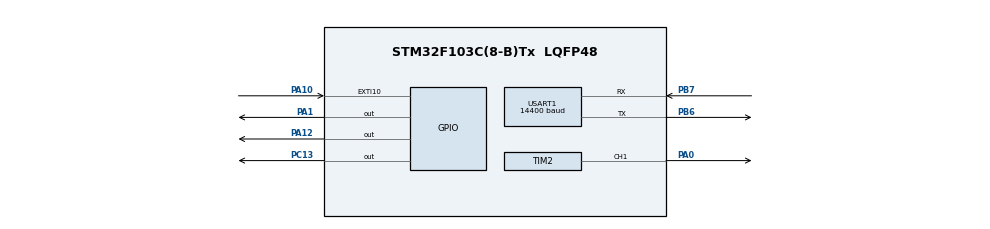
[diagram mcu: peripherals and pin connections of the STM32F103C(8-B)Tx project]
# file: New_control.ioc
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Mcu.Family=STM32F1
Mcu.Name=STM32F103C(8-B)Tx
Mcu.Package=LQFP48
NVIC.EXTI15_10_IRQn=true\:0\:0\:false\:false\:true\:true\:true\:true
NVIC.PriorityGroup=NVIC_PRIORITYGROUP_4
NVIC.TIM1_UP_IRQn=true\:0\:0\:false\:false\:true\:true\:true\:true
NVIC.TIM3_IRQn=true\:0\:0\:false\:false\:true\:true\:true\:true
NVIC.USART1_IRQn=true\:0\:0\:false\:false\:true\:true\:true\:true
PA0-WKUP.Signal=S_TIM2_CH1_ETR
PA1.Signal=GPIO_Output
PA10.Signal=GPXTI10
PA12.Signal=GPIO_Output
PA13.Mode=Serial_Wire
PA13.Signal=SYS_JTMS-SWDIO
PA14.Mode=Serial_Wire
PA14.Signal=SYS_JTCK-SWCLK
PB6.Mode=Asynchronous
PB6.Signal=USART1_TX
PB7.Mode=Asynchronous
PB7.Signal=USART1_RX
PC13-TAMPER-RTC.Signal=GPIO_Output
ProjectManager.HeapSize=0x200
ProjectManager.StackSize=0x400
ProjectManager.TargetToolchain=MDK-ARM V5.32
RCC.APB1Freq_Value=8000000
RCC.APB2Freq_Value=8000000
SH.S_TIM2_CH1_ETR.0=TIM2_CH1,PWM Generation1 CH1
TIM1.Period=999
TIM1.Prescaler=799
TIM2.Channel-PWM\ Generation1\ CH1=TIM_CHANNEL_1
TIM2.Period=999
TIM2.Prescaler=7
TIM3.Period=2499
TIM3.Prescaler=799
USART1.BaudRate=14400
USART1.VirtualMode=VM_ASYNC
VP_TIM1_VS_ClockSourceINT.Mode=Internal
VP_TIM3_VS_ClockSourceINT.Mode=Internal
board=custom

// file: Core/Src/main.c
/* USER CODE BEGIN Header */
/**
  ******************************************************************************
  * @file           : main.c
  * @brief          : Main program body
  ******************************************************************************
  * @attention
  *
  * Copyright (c) 2025 STMicroelectronics.
  * All rights reserved.
  *
  * This software is licensed under terms that can be found in the LICENSE file
  * in the root directory of this software component.
  * If no LICENSE file comes with this software, it is provided AS-IS.
  *
  ******************************************************************************
  */
/* USER CODE END Header */
#include "main.h"

/* USER CODE BEGIN Includes */
#include "Motor_control.h"
#include "math.h"
#include "string.h"
#include "stdlib.h"
#include "stdio.h"
/* USER CODE END Includes */

/* USER CODE BEGIN PD */
#define UART_BUFFER_SIZE 100

uint8_t uart_rx_data;                   // biến nhận từng byte UART
char uart_cmd_buffer[UART_BUFFER_SIZE]; // buffer lưu chuỗi nhận được
uint16_t uart_cmd_index = 0;            // chỉ số lưu vị trí hiện tại trong buffer
volatile uint8_t uart_data_ready = 0;   // cờ báo nhận xong 1 chuỗi dữ liệu
/* USER CODE END PD */

TIM_HandleTypeDef htim1;
TIM_HandleTypeDef htim2;
TIM_HandleTypeDef htim3;

UART_HandleTypeDef huart1;

/* USER CODE BEGIN PV */
float toc_do;
uint8_t uart_flag_tx;
volatile uint32_t pulse_count = 0;
//int8_t direction;
uint8_t flag_pulse;
uint8_t flag_timer_100ms;
uint8_t motor_on = 0;
uint8_t controller_type = 0;
uint8_t input_type = 0;
float amp_max = 0, amp_min = 0;
float scaled_speedmras_set;
float scaled_speedmras_speed;
float recovered_speedmras;
uint8_t flag_nguoc;
/* USER CODE END PV */

void SystemClock_Config(void);
static void MX_GPIO_Init(void);
static void MX_TIM1_Init(void);
static void MX_TIM2_Init(void);
static void MX_TIM3_Init(void);
static void MX_USART1_UART_Init(void);
/* USER CODE BEGIN PFP */

void HAL_GPIO_EXTI_Callback(uint16_t GPIO_Pin) //Ngat ngoai dem xung
{
    if (GPIO_Pin == GPIO_PIN_10) // PA10 = EXTI10
    {
        flag_pulse = 1; // Set co bao co xung
    }
}
void HAL_TIM_PeriodElapsedCallback(TIM_HandleTypeDef *htim) //Ngat 100ms tinh toc do
{
    if (htim->Instance == TIM1) //Ngat 100ms tinh toc do
    {
        flag_timer_100ms = 1;
			//HAL_GPIO_TogglePin(GPIOC,GPIO_PIN_13);
							// Danh dau da den chu ky 100ms
    }
		if (htim->Instance == TIM3)		//Ngat 0.2s truyen uart
		{
		uart_flag_tx=1;
		}
}
//Code truyen Uart
void send_uart_3float(UART_HandleTypeDef *huart, float var1, float var2, float var3)
{
    char uart_buffer[100];
    int len;

    // Dinh dang chuoi: "var1,var2,var3\r\n"
    len = sprintf(uart_buffer, "%.2f,%.2f,%.2f\r\n", var1, var2, var3);

    // Truyen qua UART
    HAL_UART_Transmit(huart, (uint8_t*)uart_buffer, len, HAL_MAX_DELAY);
}

void Parse_UART_Command(char* str) {
    char* token;
    uint8_t field = 0;

    token = strtok(str, ",");
    while (token != NULL) {
        switch (field) {
            case 0: motor_on = atoi(token); break;
            case 1: controller_type = atoi(token); break;
            case 2: input_type = atoi(token); break;
            case 3: kp = atof(token); break;
            case 4: ki = atof(token); break;
            case 5: gp = atof(token); break;
            case 6: gi = atof(token); break;
            case 7: amp_max = atof(token); break;
            case 8: amp_min = atof(token); break;
            case 9: set_point = atof(token); break;
            default: break;
        }
				if (set_point <0)
				{
					flag_nguoc =1;
				}
        token = strtok(NULL, ",");
        field++;
    }
}
//Ham ngat nhan Uart - ket thuc bang R --> truyen chuoi nhan dc cho ham xu ly
void HAL_UART_RxCpltCallback(UART_HandleTypeDef *huart)
{
    if (huart->Instance == USART1)  // Đảm bảo là đúng UART bạn đang dùng
    {
        if (uart_rx_data == 'R')  // Gặp ký tự kết thúc chuỗi
        {
            uart_cmd_buffer[uart_cmd_index] = '\0';  // Kết thúc chuỗi
            uart_data_ready = 1;  // Báo hiệu có chuỗi sẵn sàng xử lý
            uart_cmd_index = 0;   // Reset buffer index để nhận chuỗi mới
        }
        else
        {
            if (uart_cmd_index < UART_BUFFER_SIZE - 1)
            {
                uart_cmd_buffer[uart_cmd_index++] = uart_rx_data;
            }
            else
            {
                uart_cmd_index = 0;  // Nếu quá dài, reset tránh tràn
            }
        }

        // Tiếp tục nhận UART (1 byte)
        HAL_UART_Receive_IT(huart, &uart_rx_data, 1);
    }
}

/* USER CODE END PFP */

/* USER CODE BEGIN 0 */
volatile float encoder_count = 0;   //Dem xung
// Ham tinh toc do dong co RPM
float calculate_motor_speed_rpm() {
    const float pulses_per_encoder_rev = 11.0f;
    const float gear_ratio = 21.3f;
    const float sampling_time_sec = 0.1; // 100ms

    float encoder_rps = encoder_count / pulses_per_encoder_rev / sampling_time_sec;

    // Toc do truc dau ra
    float motor_rpm = encoder_rps * 60.0f / gear_ratio;

    // Reset encoder count sau m?i chu k?
    encoder_count = 0;

    return motor_rpm;
}
//Ham tu tin hieu dieu khien sang duty
uint16_t percent_to_duty(double input_percent)
{
    uint16_t min_duty = 200;
    uint16_t max_duty = 1000;

		double scaled_duty = min_duty + ((double)input_percent * (max_duty - min_duty) / 100.0);

    return (uint16_t)round(scaled_duty);
}
//Cac ham scale
float scale_to_0_1(float x, float x_min, float x_max)
{
    if (x_max == x_min) return 0.0f; // tránh chia 0
    return (x - x_min) / (x_max - x_min);
}
float scale_to_50_250(float x)
{
    if (x < 0.0f) x = 0.0f;
    if (x > 1.0f) x = 1.0f;
    return x * (250.0f - 50.0f) + 50.0f; // = x * 200 + 50
}

/* USER CODE END 0 */

int main(void)
{

  /* MCU Configuration--------------------------------------------------------*/

  /* Reset of all peripherals, Initializes the Flash interface and the Systick. */
  HAL_Init();

  /* Configure the system clock */
  SystemClock_Config();

  /* Initialize all configured peripherals */
  MX_GPIO_Init();
  MX_TIM1_Init();
  MX_TIM2_Init();
  MX_TIM3_Init();
  MX_USART1_UART_Init();
  /* USER CODE BEGIN 2 */
	Motor_control_initialize();
	HAL_TIM_Base_Start_IT(&htim1); //Tim1 ngat tinh toc do
	HAL_TIM_Base_Start_IT(&htim3); //Tim3 ngat truyen uart
	HAL_TIM_PWM_Start(&htim2, TIM_CHANNEL_1); //Khoi dong PWM PA0
	HAL_UART_Receive_IT(&huart1, (uint8_t*)&uart_rx_data, 1);
  /* USER CODE END 2 */

  /* Infinite loop */
  /* USER CODE BEGIN WHILE */
  while (1)
  {
		//Ngat canh len - dem xung encoder - xac dinh chieu quay
	  if (flag_pulse == 1)
        {
            flag_pulse = 0;
//		if (HAL_GPIO_ReadPin(GPIOB,ENCODER_PULSE_READ_B) == GPIO_PIN_SET)
//            direction = 1;  // Thu?n
//        else
//            direction = -1; // Ngu?c   //Code phat hien chieu quay
		pulse_count += 1;
				}
	//Ngat timer 100ms - tinh toc do dong co
		if (flag_timer_100ms == 1)
        {
          encoder_count = pulse_count; //So xung sau 0.1s
					toc_do =	calculate_motor_speed_rpm(); // tinh toc do
					pulse_count =0; //Reset xung
					flag_timer_100ms = 0;
        }
	//Ham xu ly uart
	if(uart_data_ready)
{
    Parse_UART_Command(uart_cmd_buffer); // hàm bạn tự định nghĩa để tách chuỗi và xử lý
		HAL_GPIO_TogglePin(GPIOC,GPIO_PIN_13);
    uart_data_ready = 0;                 // reset cờ để tiếp nhận chuỗi mới
}
if (motor_on==1)   //Bat dong co
	{
		HAL_GPIO_WritePin(GPIOA,GPIO_PIN_1,GPIO_PIN_RESET);
		HAL_GPIO_WritePin(GPIOA,GPIO_PIN_12,GPIO_PIN_RESET);

		if(set_point<0)
		{
		HAL_GPIO_WritePin(GPIOA,GPIO_PIN_1,GPIO_PIN_RESET);
		HAL_GPIO_WritePin(GPIOA,GPIO_PIN_12,GPIO_PIN_SET);
		}
		else{
		HAL_GPIO_WritePin(GPIOA,GPIO_PIN_1,GPIO_PIN_SET);
		HAL_GPIO_WritePin(GPIOA,GPIO_PIN_12,GPIO_PIN_RESET);
		}
		//Chon kieu input setpoint
		if(input_type==0){
	set_point=set_point;
	}
else if(input_type==1){
set_point=set_point_sine;
}
else if(input_type==2){
	static uint16_t pulse_counter = 0;
        if (pulse_counter < 15000)
        {
            set_point = amp_max;
        }
        else
        {
            set_point = amp_min;			//Tao Pulse
        }

        pulse_counter++;
        if (pulse_counter >= 30000)
        {
            pulse_counter = 0;
        }
}
//		if (set_point < 50) {
//    set_point = 50;
//		}
//		else if (set_point > 250) {
//    set_point = 250;
//		}  //Gioi han set_point
	current_speed = toc_do;
	scaled_speedmras_set = scale_to_0_1(set_point,50,250);
	scaled_speedmras_speed=scale_to_0_1(current_speed,50,250);
  //kp = 0.5;
	//ki = 0.001; //day la thong so PI tunning

	Motor_control_step(); //goi mo hinh simulink tinh toan u dieu khien
		if(controller_type==0)				// Chon dieu khien signal_control - PI hoac signal_controlPImras - PI_MRAS
																	// Doi tin hieu dieu khien sang gia tri nap vao thanh ghi CCR1
{
htim2.Instance->CCR1 = 	percent_to_duty(signal_control);

}
else{

	set_point_mras=scaled_speedmras_set;
	current_speed_PImras=scaled_speedmras_speed;
	htim2.Instance->CCR1 = 	percent_to_duty(signal_controlPImras);
}

		//////////////////////////////////////////////////////////
	//Gui du lieu qua uart
		if(uart_flag_tx){
			if(controller_type==0){
		send_uart_3float(&huart1,set_point,current_speed,signal_control);		//PI thuong
				uart_flag_tx=0;
			}
			else{
			recovered_speedmras = scale_to_50_250(current_speed_model);
			send_uart_3float(&huart1,recovered_speedmras,current_speed,signal_controlPImras); //PImras
				uart_flag_tx=0;
			}
		}
	}
	else
	{
	htim2.Instance->CCR1 = 0;
	HAL_GPIO_WritePin(GPIOA,GPIO_PIN_1,GPIO_PIN_RESET);			//Tat dong co
	}
    /* USER CODE END WHILE */

  }
}

void SystemClock_Config(void)
{
  RCC_OscInitTypeDef RCC_OscInitStruct = {0};
  RCC_ClkInitTypeDef RCC_ClkInitStruct = {0};

  /** Initializes the RCC Oscillators according to the specified parameters
  * in the RCC_OscInitTypeDef structure.
  */
  RCC_OscInitStruct.OscillatorType = RCC_OSCILLATORTYPE_HSI;
  RCC_OscInitStruct.HSIState = RCC_HSI_ON;
  RCC_OscInitStruct.HSICalibrationValue = RCC_HSICALIBRATION_DEFAULT;
  RCC_OscInitStruct.PLL.PLLState = RCC_PLL_NONE;
  if (HAL_RCC_OscConfig(&RCC_OscInitStruct) != HAL_OK)
  {
    Error_Handler();
  }

  /** Initializes the CPU, AHB and APB buses clocks
  */
  RCC_ClkInitStruct.ClockType = RCC_CLOCKTYPE_HCLK|RCC_CLOCKTYPE_SYSCLK
                              |RCC_CLOCKTYPE_PCLK1|RCC_CLOCKTYPE_PCLK2;
  RCC_ClkInitStruct.SYSCLKSource = RCC_SYSCLKSOURCE_HSI;
  RCC_ClkInitStruct.AHBCLKDivider = RCC_SYSCLK_DIV1;
  RCC_ClkInitStruct.APB1CLKDivider = RCC_HCLK_DIV1;
  RCC_ClkInitStruct.APB2CLKDivider = RCC_HCLK_DIV1;

  if (HAL_RCC_ClockConfig(&RCC_ClkInitStruct, FLASH_LATENCY_0) != HAL_OK)
  {
    Error_Handler();
  }
}

static void MX_TIM1_Init(void)
{

  TIM_ClockConfigTypeDef sClockSourceConfig = {0};
  TIM_MasterConfigTypeDef sMasterConfig = {0};

  htim1.Instance = TIM1;
  htim1.Init.Prescaler = 799;
  htim1.Init.CounterMode = TIM_COUNTERMODE_UP;
  htim1.Init.Period = 999;
  htim1.Init.ClockDivision = TIM_CLOCKDIVISION_DIV1;
  htim1.Init.RepetitionCounter = 0;
  htim1.Init.AutoReloadPreload = TIM_AUTORELOAD_PRELOAD_DISABLE;
  if (HAL_TIM_Base_Init(&htim1) != HAL_OK)
  {
    Error_Handler();
  }
  sClockSourceConfig.ClockSource = TIM_CLOCKSOURCE_INTERNAL;
  if (HAL_TIM_ConfigClockSource(&htim1, &sClockSourceConfig) != HAL_OK)
  {
    Error_Handler();
  }
  sMasterConfig.MasterOutputTrigger = TIM_TRGO_RESET;
  sMasterConfig.MasterSlaveMode = TIM_MASTERSLAVEMODE_DISABLE;
  if (HAL_TIMEx_MasterConfigSynchronization(&htim1, &sMasterConfig) != HAL_OK)
  {
    Error_Handler();
  }

}

static void MX_TIM2_Init(void)
{

  TIM_MasterConfigTypeDef sMasterConfig = {0};
  TIM_OC_InitTypeDef sConfigOC = {0};

  htim2.Instance = TIM2;
  htim2.Init.Prescaler = 7;
  htim2.Init.CounterMode = TIM_COUNTERMODE_UP;
  htim2.Init.Period = 999;
  htim2.Init.ClockDivision = TIM_CLOCKDIVISION_DIV1;
  htim2.Init.AutoReloadPreload = TIM_AUTORELOAD_PRELOAD_DISABLE;
  if (HAL_TIM_PWM_Init(&htim2) != HAL_OK)
  {
    Error_Handler();
  }
  sMasterConfig.MasterOutputTrigger = TIM_TRGO_RESET;
  sMasterConfig.MasterSlaveMode = TIM_MASTERSLAVEMODE_DISABLE;
  if (HAL_TIMEx_MasterConfigSynchronization(&htim2, &sMasterConfig) != HAL_OK)
  {
    Error_Handler();
  }
  sConfigOC.OCMode = TIM_OCMODE_PWM1;
  sConfigOC.Pulse = 0;
  sConfigOC.OCPolarity = TIM_OCPOLARITY_HIGH;
  sConfigOC.OCFastMode = TIM_OCFAST_DISABLE;
  if (HAL_TIM_PWM_ConfigChannel(&htim2, &sConfigOC, TIM_CHANNEL_1) != HAL_OK)
  {
    Error_Handler();
  }
  HAL_TIM_MspPostInit(&htim2);

}

static void MX_TIM3_Init(void)
{

  TIM_ClockConfigTypeDef sClockSourceConfig = {0};
  TIM_MasterConfigTypeDef sMasterConfig = {0};

  htim3.Instance = TIM3;
  htim3.Init.Prescaler = 799;
  htim3.Init.CounterMode = TIM_COUNTERMODE_UP;
  htim3.Init.Period = 2499;
  htim3.Init.ClockDivision = TIM_CLOCKDIVISION_DIV1;
  htim3.Init.AutoReloadPreload = TIM_AUTORELOAD_PRELOAD_DISABLE;
  if (HAL_TIM_Base_Init(&htim3) != HAL_OK)
  {
    Error_Handler();
  }
  sClockSourceConfig.ClockSource = TIM_CLOCKSOURCE_INTERNAL;
  if (HAL_TIM_ConfigClockSource(&htim3, &sClockSourceConfig) != HAL_OK)
  {
    Error_Handler();
  }
  sMasterConfig.MasterOutputTrigger = TIM_TRGO_RESET;
  sMasterConfig.MasterSlaveMode = TIM_MASTERSLAVEMODE_DISABLE;
  if (HAL_TIMEx_MasterConfigSynchronization(&htim3, &sMasterConfig) != HAL_OK)
  {
    Error_Handler();
  }

}

static void MX_USART1_UART_Init(void)
{

  huart1.Instance = USART1;
  huart1.Init.BaudRate = 115200;
  huart1.Init.WordLength = UART_WORDLENGTH_8B;
  huart1.Init.StopBits = UART_STOPBITS_1;
  huart1.Init.Parity = UART_PARITY_NONE;
  huart1.Init.Mode = UART_MODE_TX_RX;
  huart1.Init.HwFlowCtl = UART_HWCONTROL_NONE;
  huart1.Init.OverSampling = UART_OVERSAMPLING_16;
  if (HAL_UART_Init(&huart1) != HAL_OK)
  {
    Error_Handler();
  }

}

static void MX_GPIO_Init(void)
{
  GPIO_InitTypeDef GPIO_InitStruct = {0};

  /* GPIO Ports Clock Enable */
  __HAL_RCC_GPIOC_CLK_ENABLE();
  __HAL_RCC_GPIOA_CLK_ENABLE();
  __HAL_RCC_GPIOB_CLK_ENABLE();

  /*Configure GPIO pin Output Level */
  HAL_GPIO_WritePin(GPIOC, GPIO_PIN_13, GPIO_PIN_RESET);

  /*Configure GPIO pin Output Level */
  HAL_GPIO_WritePin(GPIOA, GPIO_PIN_1|GPIO_PIN_12, GPIO_PIN_RESET);

  /*Configure GPIO pin : PC13 */
  GPIO_InitStruct.Pin = GPIO_PIN_13;
  GPIO_InitStruct.Mode = GPIO_MODE_OUTPUT_PP;
  GPIO_InitStruct.Pull = GPIO_NOPULL;
  GPIO_InitStruct.Speed = GPIO_SPEED_FREQ_LOW;
  HAL_GPIO_Init(GPIOC, &GPIO_InitStruct);

  /*Configure GPIO pins : PA1 PA12 */
  GPIO_InitStruct.Pin = GPIO_PIN_1|GPIO_PIN_12;
  GPIO_InitStruct.Mode = GPIO_MODE_OUTPUT_PP;
  GPIO_InitStruct.Pull = GPIO_NOPULL;
  GPIO_InitStruct.Speed = GPIO_SPEED_FREQ_LOW;
  HAL_GPIO_Init(GPIOA, &GPIO_InitStruct);

  /*Configure GPIO pin : PA10 */
  GPIO_InitStruct.Pin = GPIO_PIN_10;
  GPIO_InitStruct.Mode = GPIO_MODE_IT_RISING;
  GPIO_InitStruct.Pull = GPIO_NOPULL;
  HAL_GPIO_Init(GPIOA, &GPIO_InitStruct);

  /* EXTI interrupt init*/
  HAL_NVIC_SetPriority(EXTI15_10_IRQn, 0, 0);
  HAL_NVIC_EnableIRQ(EXTI15_10_IRQn);

}

void Error_Handler(void)
{
  __disable_irq();
  while (1)
  {
  }
}
